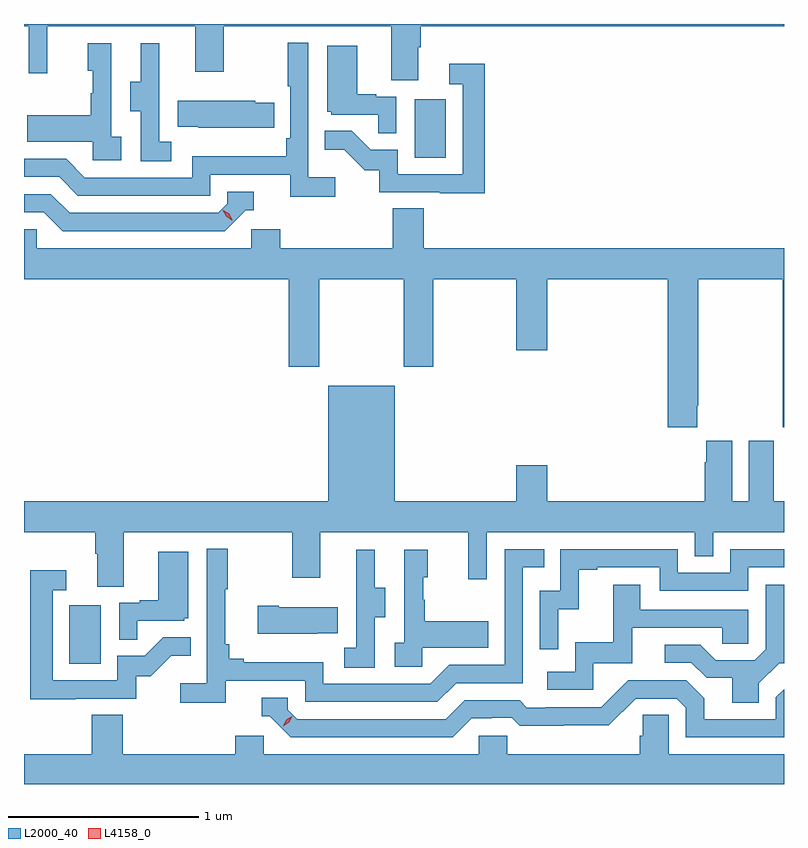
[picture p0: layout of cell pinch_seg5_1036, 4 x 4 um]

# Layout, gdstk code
import gdstk
lib = gdstk.Library(unit=1e-6, precision=1e-09)
def R(c, l, rs):  # rectangles x0, y0, x1, y1
    for r in rs: c.add(gdstk.rectangle(r[:2], r[2:], *l))
def P(c, l, *ps):  # polygons
    for p in ps: c.add(gdstk.Polygon(p, *l))
L2000_40 = (2000, 40)
L4158_0 = (4158, 0)

pinch_seg5_1036 = lib.new_cell('pinch_seg5_1036')
R(pinch_seg5_1036, L2000_40, [(845.972,853.404,846.136,853.711), (847.79,856.068,847.954,856.375)])
P(pinch_seg5_1036, L2000_40, [(845.733,856.76),(845.757,856.76),(845.757,856.512),(845.855,856.512),(845.855,856.76),(846.635,856.76),(846.635,856.521),(846.783,856.521),(846.783,856.76),(847.667,856.76),(847.667,856.474),(847.807,856.474),(847.807,856.648),(847.82,856.648),(847.82,856.76),(849.733,856.76),(849.733,856.771),(845.733,856.771)],
  [(847.372,855.964),(847.23,855.964),(847.23,856.672),(847.122,856.672),(847.122,856.444),(847.134,856.444),(847.134,856.171),(847.114,856.171),(847.114,856.075),(846.618,856.075),(846.618,855.963),(846.054,855.963),(845.955,856.062),(845.733,856.062),(845.733,855.966),(845.918,855.966),(846.017,855.867),(846.714,855.867),(846.714,855.978),(847.133,855.978),(847.133,855.862),(847.372,855.862)],
  [(846.508,856.151),(846.444,856.151),(846.444,856.455),(846.446,856.455),(846.446,856.669),(846.347,856.669),(846.347,856.467),(846.293,856.467),(846.293,856.312),(846.348,856.312),(846.348,856.048),(846.508,856.048)],
  [(846.244,856.178),(846.192,856.178),(846.192,856.669),(846.068,856.669),(846.068,856.524),(846.094,856.524),(846.094,856.406),(846.084,856.406),(846.084,856.291),(845.749,856.291),(845.749,856.151),(846.096,856.151),(846.096,856.053),(846.244,856.053)],
  [(847.692,856.389),(847.586,856.389),(847.586,856.402),(847.486,856.402),(847.486,856.657),(847.328,856.657),(847.328,856.308),(847.35,856.308),(847.35,856.293),(847.597,856.293),(847.597,856.195),(847.692,856.195)],
  [(848.159,856.561),(847.971,856.561),(847.971,856.455),(848.043,856.455),(848.043,855.981),(847.701,855.981),(847.701,856.11),(847.557,856.11),(847.459,856.208),(847.315,856.208),(847.315,856.109),(847.419,856.109),(847.526,856.002),(847.603,856.002),(847.603,855.885),(847.921,855.885),(847.921,855.88),(848.159,855.88)],
  [(847.049,856.356),(846.951,856.356),(846.951,856.366),(846.541,856.366),(846.541,856.229),(846.649,856.229),(846.649,856.226),(847.049,856.226)],
  [(846.9,855.792),(846.943,855.792),(846.943,855.888),(846.804,855.888),(846.804,855.825),(846.756,855.777),(845.973,855.777),(845.874,855.876),(845.733,855.876),(845.733,855.78),(845.837,855.78),(845.936,855.681),(846.789,855.681)],
  [(849.277,854.761),(849.282,854.761),(849.282,855.428),(849.727,855.428),(849.727,854.649),(849.733,854.649),(849.733,855.592),(847.838,855.592),(847.838,855.8),(847.673,855.8),(847.673,855.592),(847.082,855.592),(847.082,855.69),(846.93,855.69),(846.93,855.592),(845.799,855.592),(845.799,855.69),(845.733,855.69),(845.733,855.428),(847.127,855.428),(847.127,854.967),(847.287,854.967),(847.287,855.428),(847.732,855.428),(847.732,854.967),(847.887,854.967),(847.887,855.428),(848.324,855.428),(848.324,855.054),(848.488,855.054),(848.488,855.428),(849.122,855.428),(849.122,854.649),(849.277,854.649)],
  [(846.259,854.096),(847.144,854.096),(847.144,853.857),(847.291,853.857),(847.291,854.096),(848.072,854.096),(848.072,853.848),(848.169,853.848),(848.169,854.096),(849.264,854.096),(849.264,853.969),(849.36,853.969),(849.36,854.096),(849.733,854.096),(849.733,854.26),(849.679,854.26),(849.679,854.578),(849.548,854.578),(849.548,854.26),(849.46,854.26),(849.46,854.578),(849.323,854.578),(849.323,854.465),(849.317,854.465),(849.317,854.26),(848.488,854.26),(848.488,854.449),(848.324,854.449),(848.324,854.26),(847.684,854.26),(847.684,854.866),(847.334,854.866),(847.334,854.26),(845.733,854.26),(845.733,854.096),(846.107,854.096),(846.107,853.984),(846.119,853.984),(846.119,853.81),(846.259,853.81)],
  [(846.794,853.314),(847.212,853.314),(847.212,853.203),(847.909,853.203),(848.008,853.302),(848.358,853.302),(848.358,853.911),(848.471,853.911),(848.471,854.007),(848.262,854.007),(848.262,853.398),(847.971,853.398),(847.872,853.299),(847.308,853.299),(847.308,853.411),(846.889,853.411),(846.889,853.43),(846.812,853.43),(846.812,853.507),(846.793,853.507),(846.793,853.795),(846.805,853.795),(846.805,854.008),(846.696,854.008),(846.696,853.3),(846.555,853.3),(846.555,853.198),(846.794,853.198)],
  [(848.544,853.691),(848.654,853.691),(848.654,853.899),(848.749,853.899),(848.749,853.911),(849.078,853.911),(849.078,853.788),(849.546,853.788),(849.546,853.911),(849.733,853.911),(849.733,854.007),(849.45,854.007),(849.45,853.884),(849.174,853.884),(849.174,854.007),(848.556,854.007),(848.556,853.788),(848.448,853.788),(848.448,853.479),(848.544,853.479)],
  [(847.83,853.487),(848.177,853.487),(848.177,853.627),(847.843,853.627),(847.843,853.742),(847.833,853.742),(847.833,853.86),(847.858,853.86),(847.858,854.005),(847.734,854.005),(847.734,853.514),(847.683,853.514),(847.683,853.389),(847.83,853.389)],
  [(847.578,853.648),(847.633,853.648),(847.633,853.803),(847.579,853.803),(847.579,854.005),(847.481,854.005),(847.481,853.791),(847.482,853.791),(847.482,853.487),(847.419,853.487),(847.419,853.384),(847.578,853.384)],
  [(846.329,853.629),(846.576,853.629),(846.576,853.644),(846.598,853.644),(846.598,853.993),(846.44,853.993),(846.44,853.738),(846.341,853.738),(846.341,853.725),(846.234,853.725),(846.234,853.531),(846.329,853.531)],
  [(846.005,853.221),(846.324,853.221),(846.324,853.338),(846.4,853.338),(846.507,853.445),(846.611,853.445),(846.611,853.544),(846.467,853.544),(846.369,853.446),(846.225,853.446),(846.225,853.317),(845.883,853.317),(845.883,853.791),(845.956,853.791),(845.956,853.897),(845.767,853.897),(845.767,853.216),(846.005,853.216)],
  [(849.601,853.3),(849.708,853.407),(849.733,853.407),(849.733,853.819),(849.636,853.819),(849.636,853.479),(849.579,853.422),(849.373,853.422),(849.292,853.503),(849.105,853.503),(849.105,853.41),(849.246,853.41),(849.326,853.33),(849.461,853.33),(849.461,853.198),(849.601,853.198)],
  [(848.73,853.407),(848.935,853.407),(848.935,853.593),(849.409,853.593),(849.409,853.509),(849.546,853.509),(849.546,853.689),(848.977,853.689),(848.977,853.819),(848.833,853.819),(848.833,853.516),(848.634,853.516),(848.634,853.362),(848.487,853.362),(848.487,853.266),(848.73,853.266)],
  [(847.277,853.565),(847.385,853.565),(847.385,853.702),(847.075,853.702),(847.075,853.71),(846.963,853.71),(846.963,853.562),(847.277,853.562)],
  [(848.089,853.116),(848.196,853.116),(848.196,853.119),(848.299,853.119),(848.341,853.077),(848.574,853.077),(848.574,853.079),(848.81,853.079),(848.952,853.221),(849.168,853.221),(849.216,853.173),(849.216,853.017),(849.733,853.017),(849.733,853.27),(849.69,853.227),(849.69,853.113),(849.313,853.113),(849.313,853.223),(849.219,853.317),(848.913,853.317),(848.772,853.176),(848.479,853.176),(848.479,853.173),(848.38,853.173),(848.341,853.212),(848.052,853.212),(847.953,853.113),(847.17,853.113),(847.122,853.161),(847.122,853.224),(846.983,853.224),(846.983,853.128),(847.026,853.128),(847.137,853.017),(847.99,853.017)],
  [(849.733,852.928),(849.126,852.928),(849.126,853.136),(848.989,853.136),(848.989,853.026),(848.975,853.026),(848.975,852.928),(848.277,852.928),(848.277,853.026),(848.127,853.026),(848.127,852.928),(846.996,852.928),(846.996,853.026),(846.845,853.026),(846.845,852.928),(846.254,852.928),(846.254,853.136),(846.089,853.136),(846.089,852.928),(845.733,852.928),(845.733,852.771),(849.733,852.771)])
P(pinch_seg5_1036, L4158_0, [(846.827,855.739),(846.797,855.759),(846.78,855.791),(846.78,855.792),(846.781,855.792),(846.812,855.772),(846.828,855.74),(846.828,855.739)],
  [(847.097,853.076),(847.097,853.076),(847.114,853.109),(847.145,853.128),(847.145,853.128),(847.145,853.128),(847.129,853.095),(847.098,853.076)])

lib.write_gds('pinch_seg5_1036.gds')
